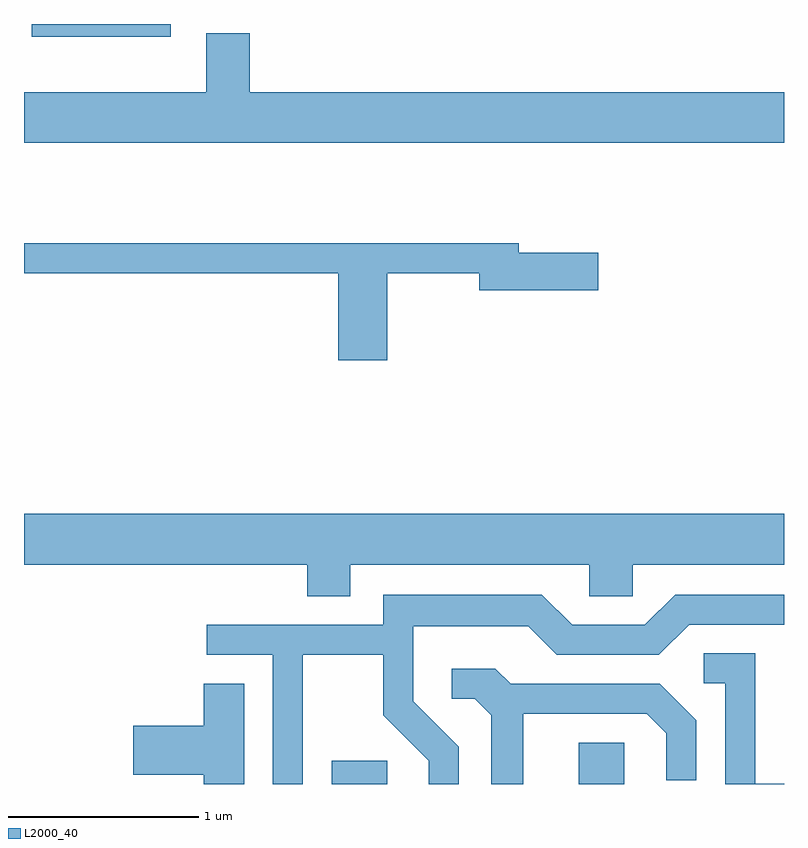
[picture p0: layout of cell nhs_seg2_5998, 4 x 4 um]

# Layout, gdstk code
import gdstk
lib = gdstk.Library(unit=1e-6, precision=1e-09)
def R(c, l, rs):  # rectangles x0, y0, x1, y1
    for r in rs: c.add(gdstk.rectangle(r[:2], r[2:], *l))
def P(c, l, *ps):  # polygons
    for p in ps: c.add(gdstk.Polygon(p, *l))
L2000_40 = (2000, 40)

nhs_seg2_5998 = lib.new_cell('nhs_seg2_5998')
R(nhs_seg2_5998, L2000_40, [(363.231,1073.802,363.524,1073.924), (364.531,1073.802,364.769,1074.019), (361.651,1077.736,362.384,1077.802)])
P(nhs_seg2_5998, L2000_40, [(365.611,1077.444),(362.799,1077.444),(362.799,1077.754),(362.571,1077.754),(362.571,1077.444),(361.611,1077.444),(361.611,1077.176),(365.611,1077.176)],
  [(363.524,1076.491),(364.006,1076.491),(364.006,1076.401),(364.634,1076.401),(364.634,1076.599),(364.214,1076.599),(364.214,1076.649),(361.611,1076.649),(361.611,1076.491),(363.266,1076.491),(363.266,1076.031),(363.524,1076.031)],
  [(363.329,1074.956),(364.586,1074.956),(364.586,1074.791),(364.814,1074.791),(364.814,1074.956),(365.611,1074.956),(365.611,1075.224),(361.611,1075.224),(361.611,1074.956),(363.101,1074.956),(363.101,1074.791),(363.329,1074.791)],
  [(363.079,1074.481),(363.501,1074.481),(363.501,1074.164),(363.741,1073.924),(363.741,1073.802),(363.899,1073.802),(363.899,1073.997),(363.659,1074.237),(363.659,1074.631),(364.264,1074.631),(364.414,1074.481),(364.952,1074.481),(365.112,1074.641),(365.611,1074.641),(365.611,1074.799),(365.039,1074.799),(364.879,1074.639),(364.497,1074.639),(364.337,1074.799),(363.501,1074.799),(363.501,1074.639),(362.573,1074.639),(362.573,1074.481),(362.921,1074.481),(362.921,1073.802),(363.079,1073.802)],
  [(365.611,1073.804),(365.459,1073.804),(365.459,1074.489),(365.188,1074.489),(365.188,1074.331),(365.301,1074.331),(365.301,1073.802),(365.611,1073.802)],
  [(364.239,1074.171),(364.889,1074.171),(364.991,1074.069),(364.991,1073.823),(365.149,1073.823),(365.149,1074.137),(364.957,1074.329),(364.172,1074.329),(364.092,1074.409),(363.863,1074.409),(363.863,1074.251),(363.984,1074.251),(364.071,1074.164),(364.071,1073.802),(364.239,1073.802)],
  [(362.769,1074.329),(362.556,1074.329),(362.556,1074.109),(362.186,1074.109),(362.186,1073.851),(362.556,1073.851),(362.556,1073.802),(362.769,1073.802)])

lib.write_gds('nhs_seg2_5998.gds')
